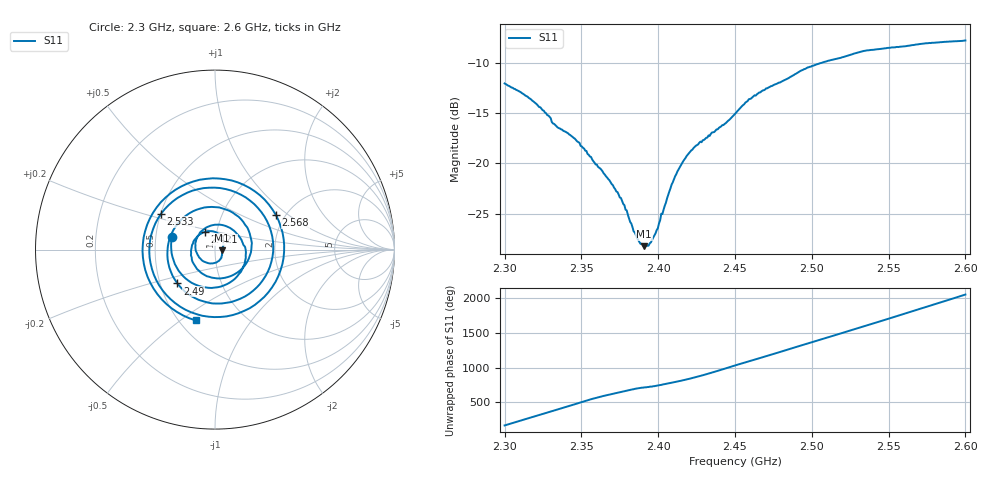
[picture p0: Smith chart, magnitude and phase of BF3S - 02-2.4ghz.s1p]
! NanoVNA-App
! Date: 2026-05-22 16:31:59
! Start: 2.3GHz Stop: 2.6GHz Points: 401
! S-Parameter data: F S11
# Hz S RI R 50
!  Frequency  S11_Real  S11_Imag
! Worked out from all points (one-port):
!   401 points, 2.3 GHz to 2.6 GHz, reference 50 ohm
!   lowest |S11| = -28.2 dB at 2.391 GHz (marker M1), VSWR 1.08, Z = 54 - j0.524 ohm
!   |S11| at or under -10 dB: start of sweep to 2.506 GHz
!   S11 on the Smith chart (normalised r, x): 2.3 GHz: 0.61, +0.09; 2.421 GHz: 0.87, +0.17; 2.49 GHz: 0.61, -0.25; 2.533 GHz: 0.50, +0.23; 2.568 GHz: 1.80, +0.81; 2.6 GHz: 0.60, -0.57
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2.3e9  -0.2401 0.0696
2.31575e9  -0.00103 -0.2117
2.32625e9  0.1679 -0.0619
2.3375e9  0.0836 0.121
2.35325e9  -0.1099 0.035
2.375e9  0.0157 -0.0658
2.39075e9  0.0384 -0.00485
2.4125e9  0.0188 0.0892
2.42075e9  -0.0579 0.0984
2.435e9  -0.1261 -0.0662
2.45e9  0.1149 -0.1337
2.4605e9  0.1976 0.072
2.47175e9  -0.0181 0.2378
2.4875e9  -0.2544 -0.1002
2.4905e9  -0.2096 -0.1885
2.50025e9  0.0897 -0.2924
2.51e9  0.3202 -0.0409
2.51675e9  0.2592 0.2078
2.525e9  -0.0331 0.3448
2.5325e9  -0.3007 0.1993
2.54e9  -0.3509 -0.1093
2.549e9  -0.0717 -0.3685
2.555e9  0.1927 -0.327
2.5625e9  0.3817 -0.0478
2.56775e9  0.3401 0.1914
2.5775e9  -0.0476 0.3941
2.58725e9  -0.3895 0.1025
2.6e9  -0.1073 -0.3947
